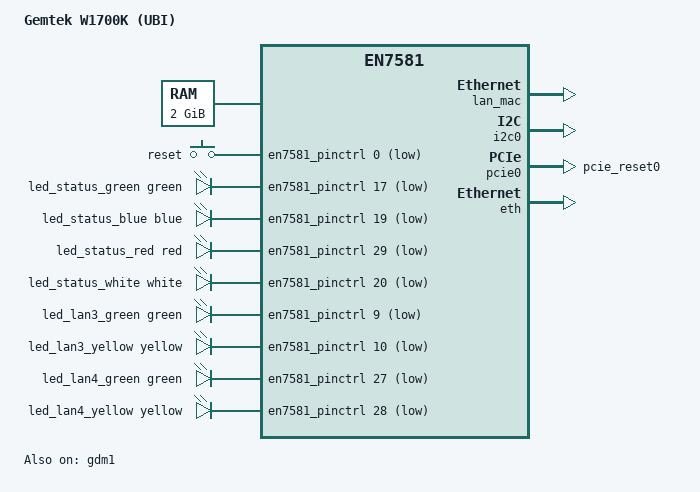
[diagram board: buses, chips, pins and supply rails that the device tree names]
// SPDX-License-Identifier: (GPL-2.0-only OR BSD-2-Clause)
/dts-v1/;

/* Bootloader installs ATF here */
/memreserve/ 0x80000000 0x200000;

#include <dt-bindings/gpio/gpio.h>
#include <dt-bindings/input/input.h>
#include <dt-bindings/interrupt-controller/irq.h>
#include <dt-bindings/leds/common.h>
#include "en7581.dtsi"

/ {
	model = "Gemtek W1700K (UBI)";
	compatible = "gemtek,w1700k", "gemtek,w1700k-ubi",
		     "airoha,an7581", "airoha,en7581";
	recovery-gpios = <&en7581_pinctrl 0 GPIO_ACTIVE_LOW>;
	recovery-green-led-gpios = <&en7581_pinctrl 9 GPIO_ACTIVE_LOW>,
				   <&en7581_pinctrl 27 GPIO_ACTIVE_LOW>;
	recovery-yellow-led-gpios = <&en7581_pinctrl 10 GPIO_ACTIVE_LOW>,
				    <&en7581_pinctrl 28 GPIO_ACTIVE_LOW>;

	aliases {
		serial0 = &uart1;
		led-boot = &led_status_red;
		led-failsafe = &led_status_blue;
		led-upgrade = &led_status_blue;
		led-running = &led_status_green;
	};

	chosen {
		rootdisk = <&ubi_rootfs>;
		bootargs = "console=ttyS0,115200 earlycon ubi.block=0,fit root=/dev/fit0 rootwait";
		stdout-path = "serial0:115200n8";
		linux,usable-memory-range = <0x0 0x80200000 0x0 0x7fe00000>;
	};

	memory@80000000 {
		device_type = "memory";
		reg = <0x0 0x80000000 0x0 0x80000000>;
	};

	keys {
		compatible = "gpio-keys";

		key-restart {
			label = "reset";
			gpios = <&en7581_pinctrl 0 GPIO_ACTIVE_LOW>;
			linux,code = <KEY_RESTART>;
		};
	};

	leds {
		compatible = "gpio-leds";

		led_status_green: led-status-green {
			color = <LED_COLOR_ID_GREEN>;
			function = LED_FUNCTION_STATUS;
			gpios = <&en7581_pinctrl 17 GPIO_ACTIVE_LOW>;
		};

		led_status_blue: led-status-blue {
			color = <LED_COLOR_ID_BLUE>;
			function = LED_FUNCTION_STATUS;
			gpios = <&en7581_pinctrl 19 GPIO_ACTIVE_LOW>;
		};

		led_status_red: led-status-red {
			color = <LED_COLOR_ID_RED>;
			function = LED_FUNCTION_STATUS;
			gpios = <&en7581_pinctrl 29 GPIO_ACTIVE_LOW>;
			default-state = "on";
		};

		led_status_white: led-status-white {
			color = <LED_COLOR_ID_WHITE>;
			function = LED_FUNCTION_STATUS;
			gpios = <&en7581_pinctrl 20 GPIO_ACTIVE_LOW>;
		};

		led_lan3_green: led-lan3-green {
			color = <LED_COLOR_ID_GREEN>;
			function = LED_FUNCTION_LAN;
			function-enumerator = <3>;
			gpios = <&en7581_pinctrl 9 GPIO_ACTIVE_LOW>;
		};

		led_lan3_yellow: led-lan3-yellow {
			color = <LED_COLOR_ID_YELLOW>;
			function = LED_FUNCTION_LAN;
			function-enumerator = <3>;
			gpios = <&en7581_pinctrl 10 GPIO_ACTIVE_LOW>;
		};

		led_lan4_green: led-lan4-green {
			color = <LED_COLOR_ID_GREEN>;
			function = LED_FUNCTION_LAN;
			function-enumerator = <4>;
			gpios = <&en7581_pinctrl 27 GPIO_ACTIVE_LOW>;
		};

		led_lan4_yellow: led-lan4-yellow {
			color = <LED_COLOR_ID_YELLOW>;
			function = LED_FUNCTION_LAN;
			function-enumerator = <4>;
			gpios = <&en7581_pinctrl 28 GPIO_ACTIVE_LOW>;
		};
	};
};

&en7581_pinctrl {
	gpio-ranges = <&en7581_pinctrl 0 13 50>;

	mdio_pins: mdio-pins {
		mux {
			function = "mdio";
			groups = "mdio";
		};

		conf {
			pins = "gpio2";
			output-high;
		};
	};

	pcie0_rst_pins: pcie0-rst-pins {
		conf {
			pins = "pcie_reset0";
			drive-open-drain = <1>;
		};
	};
};

&spi_nand {
	#address-cells = <1>;
	#size-cells = <1>;

	partitions {
		compatible = "fixed-partitions";
		#address-cells = <1>;
		#size-cells = <1>;

		partition@0 {
			label = "vendor";
			reg = <0x00000000 0x00600000>;
			read-only;
		};

		partition@600000 {
			label = "chainloader";
			reg = <0x00600000 0x00100000>;
			read-only;
		};

		partition@700000 {
			label = "ubi";
			reg = <0x00700000 0x1b700000>;
			compatible = "linux,ubi";

			volumes {
				ubi-volume-ubootenv {
					volname = "ubootenv";

					nvmem-layout {
						compatible = "u-boot,env-redundant-bool";
					};
				};

				ubi-volume-ubootenv2 {
					volname = "ubootenv2";

					nvmem-layout {
						compatible = "u-boot,env-redundant-bool";
					};
				};

				ubi-volume-uboot {
					volname = "uboot";
				};

				ubi_rootfs: ubi-volume-fit {
					volname = "fit";
				};

				ubi_factory: ubi-volume-factory {
					volname = "factory";
				};
			};
		};

		/*
		 * Compatibility views for older W1700K UBI layouts (same scheme
		 * as the XR1710G). All three partitions start at the same
		 * offset; software must select exactly one view before
		 * attaching UBI.
		 */
		partition-ubi15@700000 {
			label = "ubi1.5";
			reg = <0x00700000 0x1d9c0000>;
		};

		partition-ubi10@700000 {
			label = "ubi1.0";
			reg = <0x00700000 0x1f700000>;
		};

		/*
		 * Reserve the final 528 128 KiB eraseblocks (66 MiB) for
		 * the vendor bootloader's BMT/BBT handling on SPI-NAND.
		 */
		reserved_bmt@1be00000 {
			label = "reserved_bmt";
			reg = <0x1be00000 0x04200000>;
			read-only;
		};
	};
};

&ubi_factory {
	nvmem-layout {
		compatible = "fixed-layout";
		#address-cells = <1>;
		#size-cells = <1>;

		eeprom: eeprom@0 {
			reg = <0x0 0x1e00>;
		};

		wan_mac: macaddr@5000 {
			reg = <0x5000 0x6>;
		};

		lan_mac: macaddr@6000 {
			compatible = "mac-base";
			reg = <0x6000 0x6>;
			#nvmem-cell-cells = <1>;
		};
	};
};

&i2c0 {
	status = "okay";
};

&pcie0 {
	status = "okay";
	pinctrl-names = "default";
	pinctrl-0 = <&pcie0_rst_pins>;
};

&eth {
	status = "okay";
};

&gdm1 {
	status = "okay";
};
